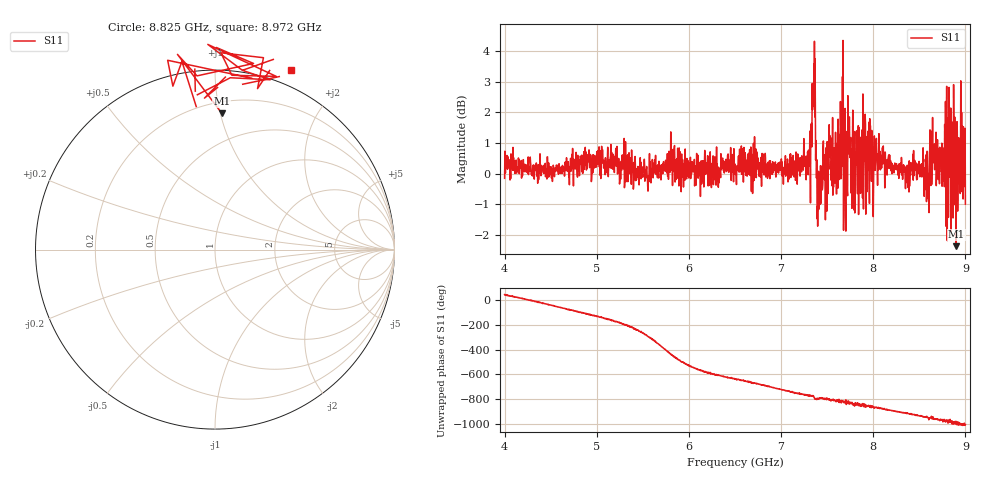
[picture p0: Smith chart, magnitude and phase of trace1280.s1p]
! Created with skrf 1.8.0 (http://scikit-rf.org).
# Hz S RI R 50.0
!freq ReS11 ImS11
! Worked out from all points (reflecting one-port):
!   1601 points, 4 GHz to 9 GHz, reference 50 ohm
!   lowest |S11| = -2.4 dB at 8.9 GHz (marker M1), VSWR 7.37, Z = 14 + j50.5 ohm
!   phase of S11 starts at 46 deg and turns -1050 deg over the sweep
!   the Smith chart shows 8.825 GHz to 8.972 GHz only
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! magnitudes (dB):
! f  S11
! 4 GHz  -0.2
! 4.625 GHz  0.0
! 5.009 GHz  0.3
! 5.25 GHz  -0.2
! 5.875 GHz  -0.2
! 6.5 GHz  0.3
! 7.125 GHz  0.1
! 7.294 GHz  0.0
! 7.347 GHz  2.3
! 7.362 GHz  4.3
! 7.409 GHz  -0.3
! 7.512 GHz  0.5
! 7.591 GHz  1.3
! 7.65 GHz  1.4
! 7.703 GHz  -1.9
! 7.75 GHz  0.8
! 7.784 GHz  -0.5
! 7.834 GHz  0.6
! 7.962 GHz  1.8
! 8.375 GHz  -0.3
! 8.441 GHz  0.0
! 8.584 GHz  0.7
! 8.638 GHz  0.2
! 8.766 GHz  0.8
! 8.809 GHz  1.8
! 8.9 GHz  -2.4
! 8.972 GHz  0.7
! 9 GHz  -1.0
